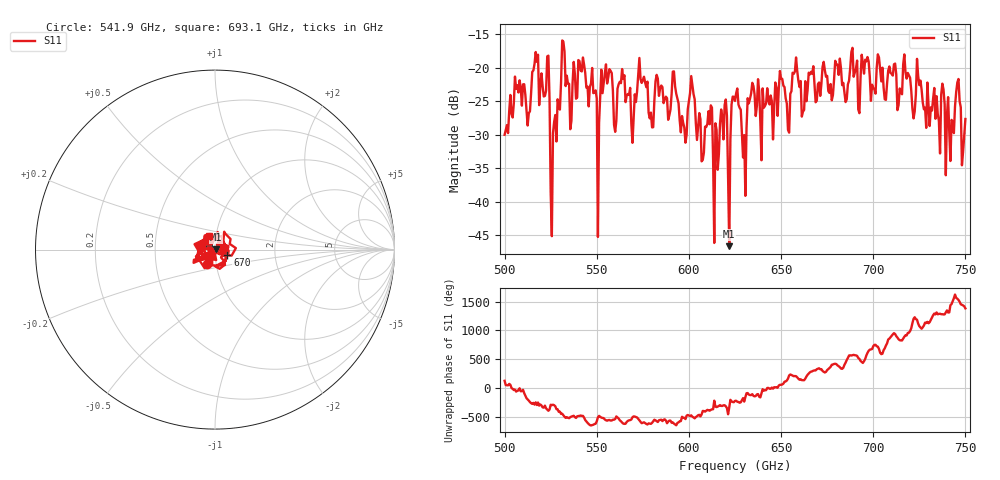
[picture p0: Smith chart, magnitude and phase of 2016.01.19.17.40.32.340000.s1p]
!Created with skrf (http://scikit-rf.org).
# GHz S RI R 50.0
!freq ReS11 ImS11
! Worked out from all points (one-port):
!   401 points, 500 GHz to 750 GHz, reference 50 ohm
!   lowest |S11| = -46.6 dB at 621.9 GHz (marker M1), VSWR 1.01, Z = 50.4 + j0.215 ohm
!   |S11| at or under -10 dB: start of sweep to end of sweep
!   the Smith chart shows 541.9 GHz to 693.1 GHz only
!   S11 on the Smith chart (normalised r, x): 541.9 GHz: 0.90, -0.15; 670 GHz: 1.15, -0.07; 693.1 GHz: 0.93, +0.15
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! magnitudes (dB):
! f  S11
! 500 GHz  -30.0
! 506.9 GHz  -22.6
! 513.1 GHz  -26.8
! 516.9 GHz  -17.7
! 523.1 GHz  -18.3
! 526.2 GHz  -29.8
! 531.2 GHz  -16.0
! 535.6 GHz  -29.2
! 541.9 GHz  -20.6
! 550.6 GHz  -45.3
! 553.8 GHz  -22.3
! 562.5 GHz  -22.1
! 593.8 GHz  -24.6
! 601.9 GHz  -22.6
! 608.1 GHz  -32.7
! 611.2 GHz  -28.5
! 614.4 GHz  -28.3
! 618.8 GHz  -30.7
! 621.9 GHz  -46.6
! 625 GHz  -25.0
! 630 GHz  -30.1
! 634.4 GHz  -22.3
! 656.2 GHz  -20.8
! 670 GHz  -22.5
! 687.5 GHz  -20.1
! 693.1 GHz  -21.5
! 718.8 GHz  -20.8
! 750 GHz  -27.7
